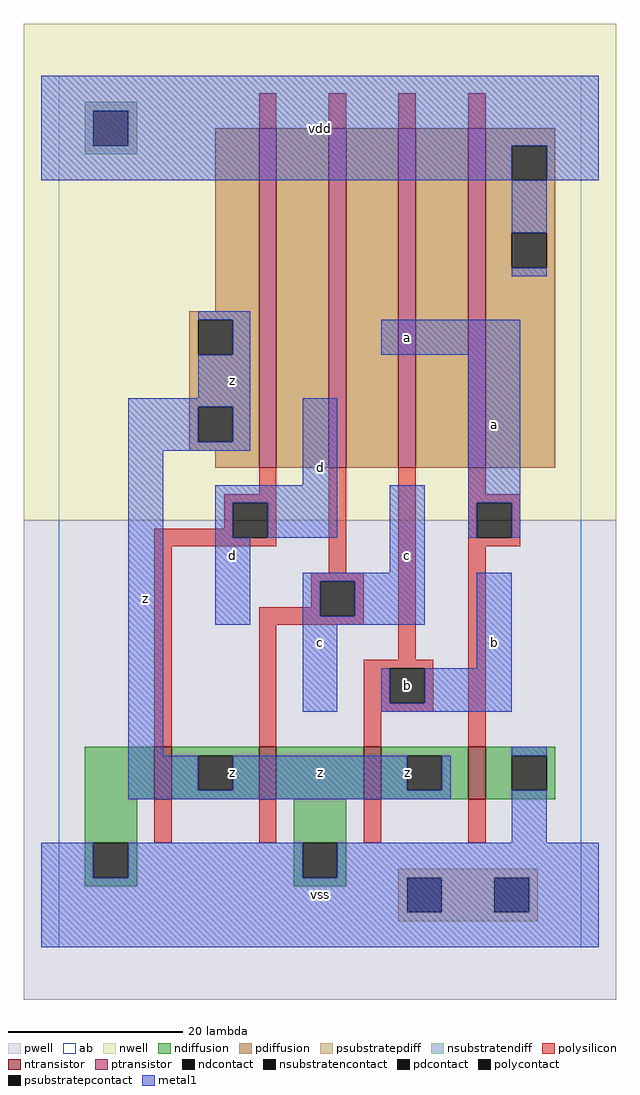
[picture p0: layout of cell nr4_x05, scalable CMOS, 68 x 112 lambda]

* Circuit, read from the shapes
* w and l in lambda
.subckt nr4_x05 a b c d vdd vss z
M1 z d vss vss nfet w=6 l=2
M2 vss c z vss nfet w=6 l=2
M3 z b vss vss nfet w=6 l=2
M4 vss a z vss nfet w=6 l=2
M5 n1 d z vdd pfet w=39 l=2
M6 n2 c n1 vdd pfet w=39 l=2
M7 n3 b n2 vdd pfet w=39 l=2
M8 vdd a n3 vdd pfet w=39 l=2
.ends

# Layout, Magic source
magic
tech scmos
<< ab >>
rect 0 0 60 100
<< pwell >>
rect -4 -6 64 49
<< nwell >>
rect -4 49 64 106
<< polysilicon >>
rect 23 94 25 98
rect 31 94 33 98
rect 39 94 41 98
rect 47 94 49 98
rect 23 52 25 55
rect 19 51 25 52
rect 19 48 20 51
rect 11 47 20 48
rect 24 47 25 51
rect 11 46 25 47
rect 11 23 13 46
rect 31 43 33 55
rect 29 42 35 43
rect 29 39 30 42
rect 23 38 30 39
rect 34 38 35 42
rect 23 37 35 38
rect 23 23 25 37
rect 39 33 41 55
rect 47 52 49 55
rect 47 51 53 52
rect 47 47 48 51
rect 52 47 53 51
rect 47 46 53 47
rect 35 32 43 33
rect 35 28 38 32
rect 42 28 43 32
rect 35 27 43 28
rect 35 23 37 27
rect 47 23 49 46
rect 11 12 13 17
rect 23 12 25 17
rect 35 12 37 17
rect 47 12 49 17
<< ndiffusion >>
rect 3 17 11 23
rect 13 22 23 23
rect 13 18 16 22
rect 20 18 23 22
rect 13 17 23 18
rect 25 17 35 23
rect 37 22 47 23
rect 37 18 40 22
rect 44 18 47 22
rect 37 17 47 18
rect 49 22 57 23
rect 49 18 52 22
rect 56 18 57 22
rect 49 17 57 18
rect 3 12 9 17
rect 27 12 33 17
rect 3 8 4 12
rect 8 8 9 12
rect 3 7 9 8
rect 27 8 28 12
rect 32 8 33 12
rect 27 7 33 8
<< pdiffusion >>
rect 18 73 23 94
rect 15 72 23 73
rect 15 68 16 72
rect 20 68 23 72
rect 15 62 23 68
rect 15 58 16 62
rect 20 58 23 62
rect 15 57 23 58
rect 18 55 23 57
rect 25 55 31 94
rect 33 55 39 94
rect 41 55 47 94
rect 49 92 57 94
rect 49 88 52 92
rect 56 88 57 92
rect 49 82 57 88
rect 49 78 52 82
rect 56 78 57 82
rect 49 55 57 78
<< metal1 >>
rect -2 92 62 100
rect -2 88 52 92
rect 56 88 62 92
rect 52 82 56 88
rect 52 77 56 78
rect 16 72 22 73
rect 20 68 22 72
rect 37 68 53 72
rect 16 63 22 68
rect 8 62 22 63
rect 8 58 16 62
rect 20 58 22 62
rect 8 57 22 58
rect 8 22 12 57
rect 28 53 32 63
rect 18 51 32 53
rect 18 47 20 51
rect 24 47 32 51
rect 18 37 22 47
rect 38 43 42 53
rect 47 51 53 68
rect 47 47 48 51
rect 52 47 53 51
rect 28 42 42 43
rect 28 38 30 42
rect 34 38 42 42
rect 28 37 42 38
rect 28 27 32 37
rect 48 32 52 43
rect 37 28 38 32
rect 42 28 52 32
rect 37 27 52 28
rect 52 22 56 23
rect 8 18 16 22
rect 20 18 40 22
rect 44 18 45 22
rect 8 17 45 18
rect 52 12 56 18
rect -2 8 4 12
rect 8 8 28 12
rect 32 8 62 12
rect -2 0 62 8
<< ntransistor >>
rect 11 17 13 23
rect 23 17 25 23
rect 35 17 37 23
rect 47 17 49 23
<< ptransistor >>
rect 23 55 25 94
rect 31 55 33 94
rect 39 55 41 94
rect 47 55 49 94
<< polycontact >>
rect 20 47 24 51
rect 30 38 34 42
rect 48 47 52 51
rect 38 28 42 32
<< ndcontact >>
rect 16 18 20 22
rect 40 18 44 22
rect 52 18 56 22
rect 4 8 8 12
rect 28 8 32 12
<< pdcontact >>
rect 16 68 20 72
rect 16 58 20 62
rect 52 88 56 92
rect 52 78 56 82
<< psubstratepcontact >>
rect 40 4 44 8
rect 50 4 54 8
<< nsubstratencontact >>
rect 4 92 8 96
<< psubstratepdiff >>
rect 39 8 55 9
rect 39 4 40 8
rect 44 4 50 8
rect 54 4 55 8
rect 39 3 55 4
<< nsubstratendiff >>
rect 3 96 9 97
rect 3 92 4 96
rect 8 92 9 96
rect 3 91 9 92
<< labels >>
rlabel metal1 20 20 20 20 6 z
rlabel metal1 20 20 20 20 6 z
rlabel metal1 10 40 10 40 6 z
rlabel metal1 10 40 10 40 6 z
rlabel metal1 20 45 20 45 6 d
rlabel metal1 20 45 20 45 6 d
rlabel metal1 20 65 20 65 6 z
rlabel metal1 20 65 20 65 6 z
rlabel metal1 30 6 30 6 6 vss
rlabel metal1 30 6 30 6 6 vss
rlabel metal1 30 20 30 20 6 z
rlabel metal1 30 20 30 20 6 z
rlabel metal1 30 35 30 35 6 c
rlabel metal1 30 35 30 35 6 c
rlabel metal1 30 55 30 55 6 d
rlabel metal1 30 55 30 55 6 d
rlabel metal1 30 94 30 94 6 vdd
rlabel metal1 30 94 30 94 6 vdd
rlabel metal1 40 20 40 20 6 z
rlabel metal1 40 20 40 20 6 z
rlabel polycontact 40 30 40 30 6 b
rlabel polycontact 40 30 40 30 6 b
rlabel metal1 40 45 40 45 6 c
rlabel metal1 40 45 40 45 6 c
rlabel metal1 40 70 40 70 6 a
rlabel metal1 40 70 40 70 6 a
rlabel metal1 50 35 50 35 6 b
rlabel metal1 50 35 50 35 6 b
rlabel metal1 50 60 50 60 6 a
rlabel metal1 50 60 50 60 6 a
<< end >>
